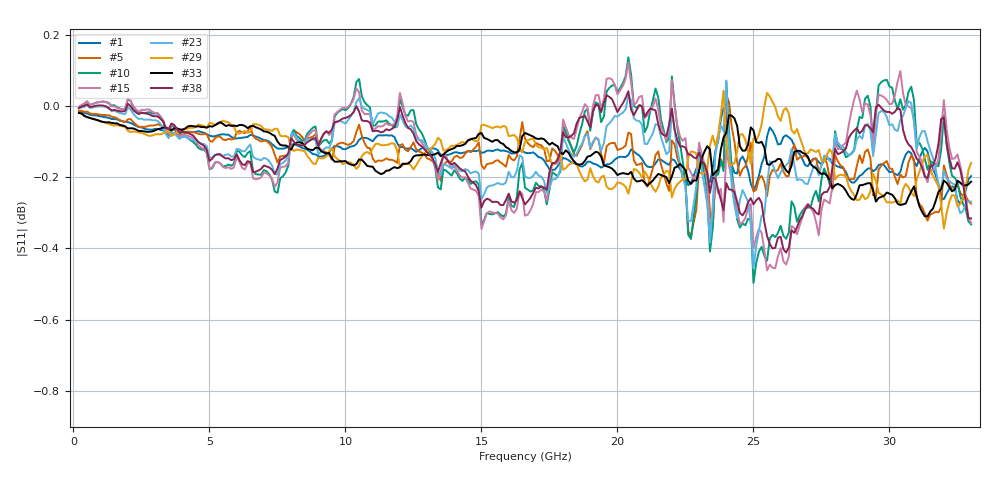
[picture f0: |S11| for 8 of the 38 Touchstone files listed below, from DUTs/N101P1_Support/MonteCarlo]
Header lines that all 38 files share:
# GHZ S RI R 50
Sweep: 200 MHz to 33 GHz
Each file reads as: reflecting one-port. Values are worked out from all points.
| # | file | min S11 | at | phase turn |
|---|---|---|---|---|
| 1 | N101P1_1.s2p | -0.3 dB | 32.6 GHz | -2367 deg |
| 2 | N101P1_3.s2p | -0.3 dB | 31.9 GHz | -2367 deg |
| 3 | N101P1_4.s2p | -0.3 dB | 31.4 GHz | -2368 deg |
| 4 | N101P1_6.s2p | -0.3 dB | 31.4 GHz | -2368 deg |
| 5 | N101P1_8.s2p | -0.4 dB | 22.7 GHz | -2368 deg |
| 6 | N101P1_11.s2p | -0.3 dB | 32 GHz | -2367 deg |
| 7 | N101P1_12.s2p | -0.4 dB | 31.9 GHz | -2366 deg |
| 8 | N101P1_13.s2p | -0.3 dB | 31.9 GHz | -2366 deg |
| 9 | N101P1_14.s2p | -0.3 dB | 31.9 GHz | -2367 deg |
| 10 | N101P1_15.s2p | -0.5 dB | 25 GHz | -2369 deg |
| 11 | N101P1_18.s2p | -0.3 dB | 25 GHz | -2368 deg |
| 12 | N101P1_19.s2p | -0.4 dB | 32 GHz | -2366 deg |
| 13 | N101P1_20.s2p | -0.3 dB | 32 GHz | -2367 deg |
| 14 | N101P1_22.s2p | -0.3 dB | 32 GHz | -2367 deg |
| 15 | N101P1_27.s2p | -0.5 dB | 25.5 GHz | -2370 deg |
| 16 | N101P1_28.s2p | -0.3 dB | 31.3 GHz | -2368 deg |
| 17 | N101P1_30.s2p | -0.3 dB | 32.6 GHz | -2367 deg |
| 18 | N101P1_31.s2p | -0.5 dB | 25 GHz | -2370 deg |
| 19 | N101P1_33.s2p | -0.3 dB | 28.7 GHz | -2366 deg |
| 20 | N101P1_35.s2p | -0.3 dB | 32 GHz | -2367 deg |
| 21 | N101P1_36.s2p | -0.3 dB | 31.4 GHz | -2368 deg |
| 22 | N101P1_38.s2p | -0.3 dB | 31.9 GHz | -2367 deg |
| 23 | N101P1_41.s2p | -0.5 dB | 25 GHz | -2368 deg |
| 24 | N101P1_42.s2p | -0.3 dB | 32.6 GHz | -2367 deg |
| 25 | N101P1_47.s2p | -0.4 dB | 24 GHz | -2368 deg |
| 26 | N101P1_50.s2p | -0.4 dB | 30.8 GHz | -2368 deg |
| 27 | N101P1_51.s2p | -0.3 dB | 32 GHz | -2367 deg |
| 28 | N101P1_53.s2p | -0.3 dB | 31.9 GHz | -2367 deg |
| 29 | N101P1_57.s2p | -0.3 dB | 32 GHz | -2366 deg |
| 30 | N101P1_61.s2p | -0.4 dB | 31.3 GHz | -2368 deg |
| 31 | N101P1_62.s2p | -0.3 dB | 22.7 GHz | -2367 deg |
| 32 | N101P1_65.s2p | -0.6 dB | 25 GHz | -2369 deg |
| 33 | N101P1_71.s2p | -0.3 dB | 31.4 GHz | -2367 deg |
| 34 | N101P1_72.s2p | -0.3 dB | 31.3 GHz | -2367 deg |
| 35 | N101P1_73.s2p | -0.4 dB | 30.8 GHz | -2367 deg |
| 36 | N101P1_74.s2p | -0.3 dB | 32 GHz | -2366 deg |
| 37 | N101P1_75.s2p | -0.8 dB | 25 GHz | -2370 deg |
| 38 | N101P1_76.s2p | -0.4 dB | 26.2 GHz | -2369 deg |
